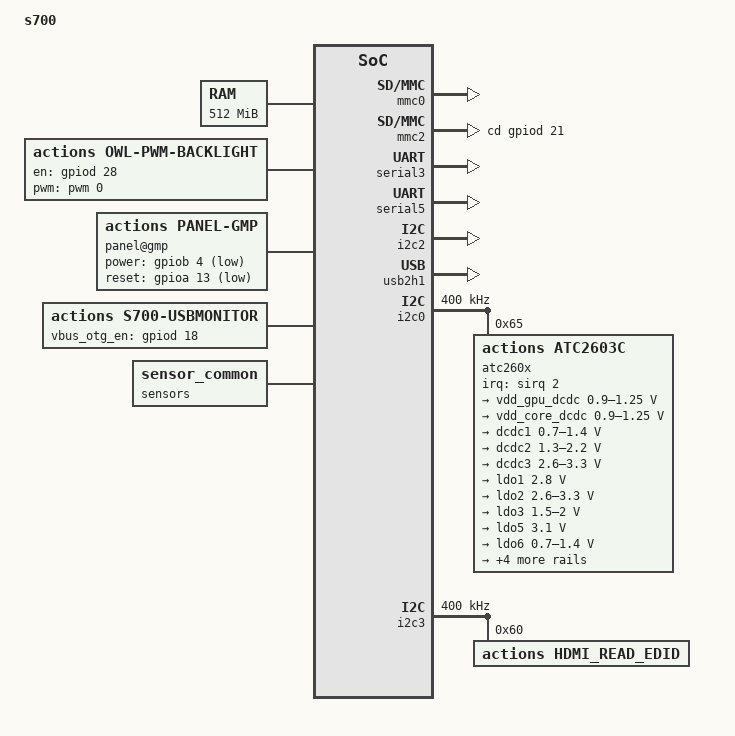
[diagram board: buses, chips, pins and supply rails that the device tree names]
/*
 * Copyright (C) 2014 Actions Semi. Inc
 *
 * This program is free software; you can redistribute it and/or
 * modify it under the terms of the GNU General Public License as
 * published by the Free Software Foundation version 2.
 *
 * This program is distributed "as is" WITHOUT ANY WARRANTY of any
 * kind, whether express or implied; without even the implied warranty
 * of MERCHANTABILITY or FITNESS FOR A PARTICULAR PURPOSE.  See the
 * GNU General Public License for more details.
 */

/dts-v1/;

/* reserve 48MB for logo(fb) */
/memreserve/ 0x19000000 0x03000000;

/* reserve 430MB for ion1(pmem) */
/memreserve/ 0x20000000 0x1AE00000;

/* reserve 4k for afinfo */
/memreserve/ 0x18FFF000 0x1000;

#include "s700.dtsi"

/ {
	model = "s700";
	compatible = "actions,s700";

	chosen {
		bootargs="fb_logo_reserve=0x19000000,0x03000000 console=ttyS5,115200 earlyprintk=serial-owl,0xe012a000 no_console_suspend";
	};

	memory@00000000 {
		device_type = "memory";
		reg = <0 0x00000000 0 0x20000000>;
	};

	ion_config {
		compatible = "actions,s900-ion";
		actions,ion_heap_pmem_base = <0x0 0x20000000>;
		actions,ion_heap_pmem_size = <0x0 0x1AE00000>;
	};

	mmc0: mmc@e0218000 {
		card-type = "emmc";
		status = "okay";
	};

	mmc1: mmc@e0214000 {
		status = "disable";
	};

	mmc2: mmc@e0210000 {
		card-type = "memory";  /* only: "memory", "wifi", or "emmc" */
		card-detect-mode = "gpio";  /* only:"gpio", or "command" */
		cd-gpios = <&gpiod 21 0>; /*hr280ac GPIOD21 */
		sd_vcc = "switch1";
		status = "okay";
	};

	serial3: uart@e0126000 {
		status = "okay";
	};
	serial5: uart@e012a000 {
		status = "okay";
	};


	i2c2: i2c@e0178000 {
		status = "okay";
	};


	pwm: pwm@e01b0000 {
		pwm0 {
			id = <0>;
			pinctrl-names = "default";
			pinctrl-0 = <&pwm0_state_default>;
		};
		pwm1 {
			id = <1>;
			pinctrl-names = "default";
			pinctrl-0 = <&pwm1_state_default>;
		};
		pwm2 {
			id = <2>;
			pinctrl-names = "default";
			pinctrl-0 = <&pwm2_state_default>;
		};
	};

	backlight {
		compatible = "actions,owl-pwm-backlight";

		/* GPIOD28, active high */
		en-gpios = <&gpiod 28 0>;

		/*1.pwm num; 2. period in ns; */
		/*3.plarity, 0: high active, 1: low active*/
		pwms = <&pwm 0 50000 1>;

		total_steps = <1024>;
		min_brightness = <200>;
		max_brightness = <1000>;
		dft_brightness = <500>;

		delay_bf_pwm = <0>; /*in ms*/
		delay_af_pwm = <20>; /*in ms*/
	};

	dsi: dsi@e0310000 {
		compatible = "actions,s700-dsi", "simple-bus";
		reg = <0 0xe0310000 0 0x88>,
		      <0 0xe0168000 0 0x100>;
		reg-names = "regs", "cmu_base";

		clocks = <&clock CLK_DSI>, <&clock CLK_CSI>;
		clock-names = "dsi", "csi";

		resets = <&reset RESET_DSI>;

		pinctrl-names = "default";
		pinctrl-0 = <&dsi_state_default>;

		panel_configs = <&config0>;

		config0: mipi_configs {
			lcd_mode = <1>;		/* 0: command mode 1: video mode */
			lane_count = <4>;	/* 0: 1, 1: 1~2, 2: 1~3, 3: 1~4 */
			lane_polarity = <0>;	/* 0: normal,1: reversed */
			lane_swap = <0x0312>;	/* sequence of data lines */

			burst_bllp = <60>;	/* 0 ~ 333, just burst mode needed,
						 * It will affect the frame rate */
			video_mode = <0>;	/* 0:sync mode,1:de mode,2:burst mode */
			pclk_rate = <114>;	/* 137MHz, HSCLK, divider X */
		};

		/* sharp gmp */
		panel@gmp {
			compatible = "actions,panel-gmp";

			/* panel's fixed info */
			width_mm = <68>;
			height_mm = <121>;
			bpp = <24>;

			is_primary = <1>;

			/* operation delay in ms */
			power_on_delay = <10>;
			power_off_delay = <0>;
			enable_delay = <10>;
			disable_delay = <0>;

			power-gpio = <&gpiob 4 1>;	/* hight active */
			//power1-gpio = <&gpiod 30 1>;	/* low active */
			reset-gpio = <&gpioa 13 1>;	/* low active */
			/* screen init command info */
			mipi_cmd = <0x0>;

			videomode-0 = <&mode0>;
			/* 760*1024 */
			mode0: videomode {
				refresh_rate = <60>;
				xres = <768>;
				yres = <1024>;

				/* in pico second, 0.000 000 000 001s */
				pixel_clock = <8772>;

				hsw = <150>;
				hbp = <150>;
				/* if the burst mode transmission, hfp need to includ burst_bllp */
				hfp = <150>;

				vsw = <10>;
				vbp = <40>;
				/* vfp can be as small as possible,
				 * it related to preline time */
				vfp = <40>;

				/* 0: FB_VMODE_NONINTERLACED, 1:FB_VMODE_INTERLACED */
				vmode = <0>;
			};
		};
	};

	monitor {
		compatible = "actions,s700-usbmonitor";
		detect_type = <3>; /* config what to detect, 0:DISABLE ; 1:DEVICE_ONLY; 2:HOST_ONLY; 3: HOST_AND_DEVICE*/
		idpin_type   = <0>; /* 0:use ic's idpin;      1:soft idpin,##no support!##;       2:gpio idpin,use gpio to detect,need to add a "idpin_gpio" configuration */
		vbus_type   = <2>; /* 0:use ic's vbuspin; 1:gpio vbus,##no support!## ;      2:use dc5v to detect vbus level*/

		/*vbus_otg_en_gpio is use to turn on/off otg vbus,it's different from vbus detect gpio;*/
		vbus_otg_en_gpios = <&gpiod 18 0>;  /* GPIOC14,  1: low active; 0: high active */
		//idpin_gpio = <&gpiob 31 1>;   /*if idpin detect by gpio,config the gpio to GPIOB31, input,0: low active; 1: high active*/
		status = "okay";
	};

	owl_usb_config {
		compatible = "actions,owl-usb-config";
		usb_serialnumber_config = <1>; /* config serialnumber string format, 0: fixed serial no in ascii format; 1: fixed serial no in unicode format; 2:non-fixed serial no in unicode format*/
		usb_hs_output_strength = <3>; /*defaut:3,range:0~7; 0:min,7:max;usb high speed(2.0)transmitter output strength*/
		status = "okay";
	};

 	usb2h0: usb@e01d0000 {
		#port_host_plug_detect = <0>; /*0:disable 1:enable detect and vbus contrl 2:only detect 3:enable detect and usb0 and usb1 use the same gpio*/
		#vbus_otg_en_gpio = <&gpioa 12 0>; /*GPIO D12*/
		status = "disabled";
	};

	usb2h1: usb@e01d8000 {
		port_host_plug_detect = <0>; /*0:disable 1:enable detect and vbus contrl 2:only detect 3:enable detect and usb0 and usb1 use the same gpio*/
		vbus_otg_en_gpio = <&gpioa 25 0>; /*GPIOA 25*/
		status = "okay";
	};

	owl_aotg_config {
                compatible = "actions,owl-aotg-config";
                usb_cam_shield1 = "e01d0000";
                usb_cam_shield2 = "e01d8000";
        };

	wifi_bt_power_ctl {
				compatible = "wifi,bt,power,ctl";
				wifi_use_usb_port_number = <1>;
				//bt_power_gpio = <&gpio 16 0>;/*GPIOA16, high active*/
				//wifi_bt_power_gpios = <&gpio 14 0>;
				//bt_en_gpios = <&gpio 17 0>;/*GPIOA17, high active*/
	};

	i2c0: i2c@e0170000 {
	i2c_num = <0>;
	clock-frequency = <400000>;
	status = "okay";
		/* atc2603c (5307) */
		atc260x: atc2603c@65 {
			compatible = "actions,atc2603c";
			reg = <0x65>;
			interrupt-parent = <&sirq>;
			interrupts =< 2 0x4 >;
			interrupt-controller;
			#interrupt-cells = <1>;

			losc_32k_output_enable = <1>;    /* enable/disable output 32.768K clock via I2S_MCLK1 pin */
			losc_32k_output_voltage = <18>;  /* select voltage scale of the 32.768K clock output, 18:1.8v, 31:3.1v */
			icm_ohm = <20>;
			pm {
				compatible = "actions,atc2603c-pm";
			};

			onoff {
				compatible = "actions,atc2603c-onoff";
			};

			rtc{
				compatible = "actions,atc2603c-rtc";
			};

			atc260x_gpio: atc260x_gpio {
				compatible = "actions,atc2603c-gpio";
				gpio-controller;
				#gpio-cells = <2>;
			};

			atc260x_sgpio: atc260x_sgpio {
				compatible = "actions,atc2603c-sgpio";
				gpio-controller;
				#gpio-cells = <2>;
				interrupt-controller;
				#interrupt-cells = <2>;
			};
			atc260x-adckeypad{
#define KEY_HOME				172
#define KEY_MENU				139
#define KEY_BACK				158
#define KEY_VOLUMEDOWN				114
#define KEY_VOLUMEUP				115
				keymapsize = <4>;                   /* number of ADC key */
				filter_dep = <3>;                   /* depth of the moving average filter (length of filter queue) */
				variance = <10>;                    /* filter will not output until the difference between every two ADC samples in the filter queue goes below this value */
				poll_interval =  <10>;              /* sample period, in ms */
				left_adc_val =  <0 90 175 270>;     /* for key code translator, each value defines a lower bound of ADC value of a key */
				right_adc_val = <30 120 220 320>;   /* for key code translator, each value defines a upper bound of ADC value of a key */
				key_val = <KEY_HOME KEY_MENU KEY_VOLUMEUP KEY_VOLUMEDOWN>; /* for key code translator, each value defines the key_code of a key */
				adc_channel_name = "AUX0";          /* the ADC channel used for sampling, valid names are REMCON AUX0 AUX1 AUX2 (AUX3) */
				compatible = "actions,atc2603c-adckeypad";
				status = "okay";                    /* enable/disable ADC key function (okay or disabled) */
			};
			/*the cfg params must be read	in the first installed ko,
			 now snd-soc-atv5302.ko is first installed.
			 1, earphone_detect_level use the third value of earphone_gpios
			 2, commonly, we shouldn't change the value of speaker_gain and earphone_gain*/
			atc260x-audio{
				compatible = "actions,atc2603c-audio";
				status = "okay";
				pinctrl-names = "default";
				pinctrl-0 = <&i2s0_state_default>;
				clocks = <&clock CLK_AUDIO_PLL>, <&clock CLK_HDMI_AUDIO>;//
				clock-names = "audio_pll", "hdmia";//
				//earphone_detect_gpios = <&gpio 21 0>; /*0: high, 1: low GPIOA21 0*/
				speaker_en_gpios = <&gpiob 9 1>; /*GPIOD(30) 0: high, 1: low*/
				earphone_output_mode = <1>; /*0: direct mode, 1: undirect mode*/
				mic_num = <1>; /*just suport 1, 2*/
				mic0_gain = < 0x7 0x7 >; /*<Lchannel,Rchannel> [0x0~0xF]*/
				speaker_gain = < 0xaa 0xaa >; /*<Lchannel,Rchannel>[0x00~0xbebe]*/
				earphone_gain = < 0xbe 0xbe >; /*<Lchannel,Rchannel>[0x00~0xbebe]*/
				mic_mode = <2>; /* 1: differential,  2: single end*/
				speaker_volume = < 0x28 0x28 >; /*volume [0x00~0x28]*/
				earphone_volume = < 0x28 0x28 >; /*volume [0x00~0x28]*/
				earphone_detect_method = <2>; /*0:gpio, 1:irq, 2:adc*/
				adc_plugin_threshold = <850>; /*adc earphone detect plugin threshold value*/
				adc_level = <1>; /*adc plugin level, 1:high vol when plugin; 0:low vol when plug in*/
			};

			atc260x-hwmon{
				compatible = "actions,atc2603c-hwmon";
			};

			atc260x-charger{
				compatible = "actions,atc2603c-charger";
				rsense = <20>;/*unit:mohm*/
				bat_type = <1>;/*0:4.18v; 1:4.2v; 2:4.3v; 3:4.35v*/
				bl_on_current_usb_pc = <200>;
				bl_off_current_usb_pc = <500>;
				bl_on_current_usb_adp = <400>;
				bl_off_current_usb_adp = <800>;
				bl_on_current_wall_adp = <400>;
				bl_off_current_wall_adp = <1400>;
				support_adaptor_type = <3>; /*1: DCIN  2: USB  3:DCIN+USB*/
				ext_charger = <0>;
				usb_adapter_as_ac = <1>;/*0:usb ada keep itself; 1:usb ada used as DCIN when usb plug and batv<3.3v during minicharge*/
				usb_pc_ctl_mode = <1>; /*0:disable vbus ctl;1:current limited;2:voltage limited*/
			};
			
			atc2603c-battery{
				compatible = "actions,atc2603c-battery";
				capacity = < 2000 >;                              /*mAh, the full capacity of battery used*/
				taper_voltage = < 4100 >;                         /*mV,the one close to the full capacity*/
				taper_current = <300>; 
				min_over_chg_protect_voltage = < 4275 >;				/*mA,the one close to the full capacity*/
				terminal_voltage = <3450>;                        /*mV,the lowest voltage of battery permitted*/
				suspend_current = < 7730 >;                       /* uA,the current of suspend*/
				shutdown_current = < 50 >;                        /* uA,the current of shutdown*/
				print_switch = <0>;                               /*0:open the switch of printing information 1:the opposite*/
				log_switch = <1>;                                 /*0:open the switch of recording charging log 1:the opposite*/
				
				ocv_soc_00 = <3477 3534 3591 3624 3637 3649 3661 3667 3673 3677>;    	 /* capacity:from 1% to 10%*/
				ocv_soc_10 = <3682 3685 3690 3693 3700 3706 3712 3716 3722 3728 >;	 /* capacity:from 11% to 20%*/
				ocv_soc_20 = <3732 3736 3739 3744 3747 3751 3755 3758 3761 3765>;	 /* capacity:from 21% to 30%*/
				ocv_soc_30 = <3768 3771 3775 3777 3782 3784 3788 3791 3793 3794 >;	 /* capacity:from 31% to 40%*/
				ocv_soc_40 = <3800 3801 3804 3807 3812 3815 3819 3823 3825 3830>;	 /* capacity:from 41% to 50%*/
				ocv_soc_50 = <3834 3838 3841 3845 3850 3854 3858 3864 3870 3874>;	 /* capacity:from 51% to 60%*/
				ocv_soc_60 = <3880 3889 3895 3902 3908 3916 3926 3933 3940 3947>;	 /* capacity:from 61% to 70%*/
				ocv_soc_70 = <3954 3961 3968 3972 3979 3985 3992 3997 4005 4012>;	 /* capacity:from 71% to 80%*/
				ocv_soc_80 = <4019 4028 4036 4046 4054 4061 4068 4075 4084 4090>;	 /* capacity:from 81% to 90%*/
				ocv_soc_90 = <4099 4107 4115 4126 4132 4141 4152 4160 4170 4180>;	 /* capacity:from 91% to 100%*/
				
			};

			vdd_gpu_dcdc: vdd-gpu-dcdc {
				compatible = "actions,atc2603c-ext-pwm-dcdc1","actions,atc2603c-ext-pwm-dcdc";
				regulator-name = "vdd-gpu-dcdc";
				regulator-min-microvolt  = <900000>;
				regulator-max-microvolt = <1250000>;
				regulator-always-on;
				pwms = <&pwm 1 2666 0>;	// 1-pwm1   2666-1/(24M/64)*1000000-1   0 -active high
				table_len = < 15 >;			//length of vdd_cpu_table & pwm_config_table
				vdd_cpu_table = <900000 925000 950000 975000 1000000 1025000 1050000 1075000 1100000 1125000 1150000 1175000 1200000 1225000 1250000>;	//uV
				pwm_config_table = <19 18 17 16 15 14 13 12 11 10 9 8 7 6 5>;	//the pwm period of 1.1v 1.2v 1.3v
			};

			vdd_core_dcdc: vdd-core-dcdc {
				compatible = "actions,atc2603c-ext-pwm-dcdc2","actions,atc2603c-ext-pwm-dcdc";
				regulator-name = "vdd-core-dcdc";
				regulator-min-microvolt  = <900000>;
				regulator-max-microvolt = <1250000>;
				regulator-always-on;
				pwms = <&pwm 2 2666 0>;	// 1-pwm1   2666-1/(24M/64)*1000000-1   0 -active high
				table_len = < 15 >;			//length of vdd_cpu_table & pwm_config_table
				vdd_cpu_table = <900000 925000 950000 975000 1000000 1025000 1050000 1075000 1100000 1125000 1150000 1175000 1200000 1225000 1250001>;	//uV
				pwm_config_table = <19 18 17 16 15 14 13 12 11 10 9 8 7 6 5>;	//the pwm period of 1.1v 1.2v 1.3v
			};

			dcdc1: dcdc1 {
				compatible = "actions,atc2603c-dcdc1","actions,atc2603c-dcdc";
				regulator-name = "dcdc1";
				regulator-min-microvolt = <700000>;
				regulator-max-microvolt = <1400000>;
				regulator-always-on;
			};

			dcdc2: dcdc2 {
				compatible = "actions,atc2603c-dcdc2","actions,atc2603c-dcdc";
				regulator-name = "dcdc2";
				regulator-min-microvolt = <1300000>;
				regulator-max-microvolt = <2200000>;
				regulator-always-on;
			};

			dcdc3: dcdc3 {
				compatible = "actions,atc2603c-dcdc3","actions,atc2603c-dcdc";
				regulator-name = "dcdc3";
				regulator-min-microvolt = <2600000>;
				regulator-max-microvolt = <3300000>;
				regulator-always-on;
			};

			dcdc4: dcdc4 {
				status = "disabled";
			};

			dcdc5: dcdc5 {
				status = "disabled";
			};

			ldo1: ldo1{
				compatible = "actions,atc2603c-ldo1","actions,atc2603c-ldo";
				regulator-name = "ldo1";
				regulator-min-microvolt  = <2800000>;
				regulator-max-microvolt = <2800000>;
				regulator-always-on;
                		regulator-suspend-off;
			};

			ldo2: ldo2{
				compatible = "actions,atc2603c-ldo2","actions,atc2603c-ldo";
				regulator-name = "ldo2";
				regulator-min-microvolt  = <2600000>;
				regulator-max-microvolt = <3300000>;
				regulator-always-on;
			};

			ldo3: ldo3{
				compatible = "actions,atc2603c-ldo3","actions,atc2603c-ldo";
				regulator-name = "ldo3";
				regulator-min-microvolt  = <1500000>;
				regulator-max-microvolt = <2000000>;
				regulator-always-on;
			};

			ldo4: ldo4{
				status = "disabled";
			};

			ldo5: ldo5{
				compatible = "actions,atc2603c-ldo5","actions,atc2603c-ldo";
				regulator-name = "ldo5";
				regulator-min-microvolt  = <3100000>;
				regulator-max-microvolt = <3100000>;
				regulator-always-on;
				regulator-suspend-off;
			};

			ldo6: ldo6{
				compatible = "actions,atc2603c-ldo6","actions,atc2603c-ldo";
				regulator-name = "ldo6";
				regulator-min-microvolt  = <700000>;
				regulator-max-microvolt = <1400000>;
				regulator-always-on;
			};

			ldo7: ldo7{
				compatible = "actions,atc2603c-ldo7","actions,atc2603c-ldo";
				regulator-name = "ldo7";
				regulator-min-microvolt  = <1800000>;
				regulator-max-microvolt = <1800000>;
				regulator-always-on;
				regulator-suspend-off;
			};

			ldo8: ldo8{
				compatible = "actions,atc2603c-ldo8","actions,atc2603c-ldo";
				regulator-name = "ldo8";
				regulator-min-microvolt  = <2300000>;
				regulator-max-microvolt = <3300000>;
			};

			ldo9: ldo9{
				status = "disabled";
			};

			ldo10: ldo10{
				status = "disabled";
			};

			ldo11: ldo11{
				compatible = "actions,atc2603c-ldo11","actions,atc2603c-ldo";
				regulator-name = "ldo11";
				regulator-min-microvolt  = <2600000>;
				regulator-max-microvolt = <3300000>;
				regulator-always-on;
                		regulator-suspend-off;
			};

			switch1:switch1{
				compatible = "actions,atc2603c-switch1","actions,atc2603c-switch";
				regulator-name = "switch1";
				regulator-min-microvolt  = <3000000>;
				regulator-max-microvolt = <3300000>;
				regulator-always-on;
			};

			switch2:switch2{
				status = "disabled";
			};
		};
	};

	i2c3: i2c@e017c000 {
		i2c_num = <3>;
		clock-frequency = <400000>;
		status = "okay";

		hdmi_read_edid@60 {
			compatible = "actions,hdmi_read_edid";
			reg = <0x60>;
		};
	};

	hdmi@e02c0000 {
		status = "disabled";
	};

	isp0: isp@0xe0268000 {
			mirror_flip = <3>;  /* bit-0:rear camera; bit-1:front camera; 0: no flip,no mirror; 1: no flip,horizontal mirror; 2:vertical flip,no mirror; 3: vertical flip,horizontal mirror */

			avdd-src = "regulator";  /* only: "gpio", "regulator" */
		        avdd-regulator = "ldo1"; /* only when vbus-src is "regulator" */
		        avdd-regulator-scope = <2800000 2810000>;  /* uV */
		        dvdd-regulator = "ldo7";
		        dvdd-regulator-scope = <1800000 1810000>;  /* uV */

			board_type = "evb";/* "ces" or "evb"*/
			sensors = "dual"; /* "dual", "front" or "rear" */
			pwdn-rear-gpios = <&gpioc 15 1>; /* GPIOC15 */
			pwdn-front-gpios = <&gpioc 23 1>; /* GPIOC23 */
			reset-gpios = <&gpiod 25 1>; /*GPIOD25*/
			pinctrl-names = "default";
			pinctrl-0 = <&isp0_state_csi_dvp>;

			status = "okay"; /* create platform-device */
		};

		sensors: isp-sensor {
			compatible = "sensor_common";
			i2c_adapter = <&i2c2>; /* 0-3 begin from enabled ones */

			status = "okay";
		};

		thermal0: thermal@e01b00f0 {
			compatible = "actions,gt7-thermal";
			reg = <0 0xe01b00f0 0 0x04>;
			id = <0>;
			//clocks = <&clock CLK_THERMAL_SENSOR>;
			clocks = <&clock CLK_THERMAL_SENSOR>;
			clock-names = "thermal_sensor";
		};

	gpu@e0340000 {
		default_freq = <400>;

		operating-points = <240000 1050000
                            320000 1100000
                            400000 1125000
                            480000 1150000>;
        gpuvdd-supply = <&vdd_gpu_dcdc>;
    };
};
